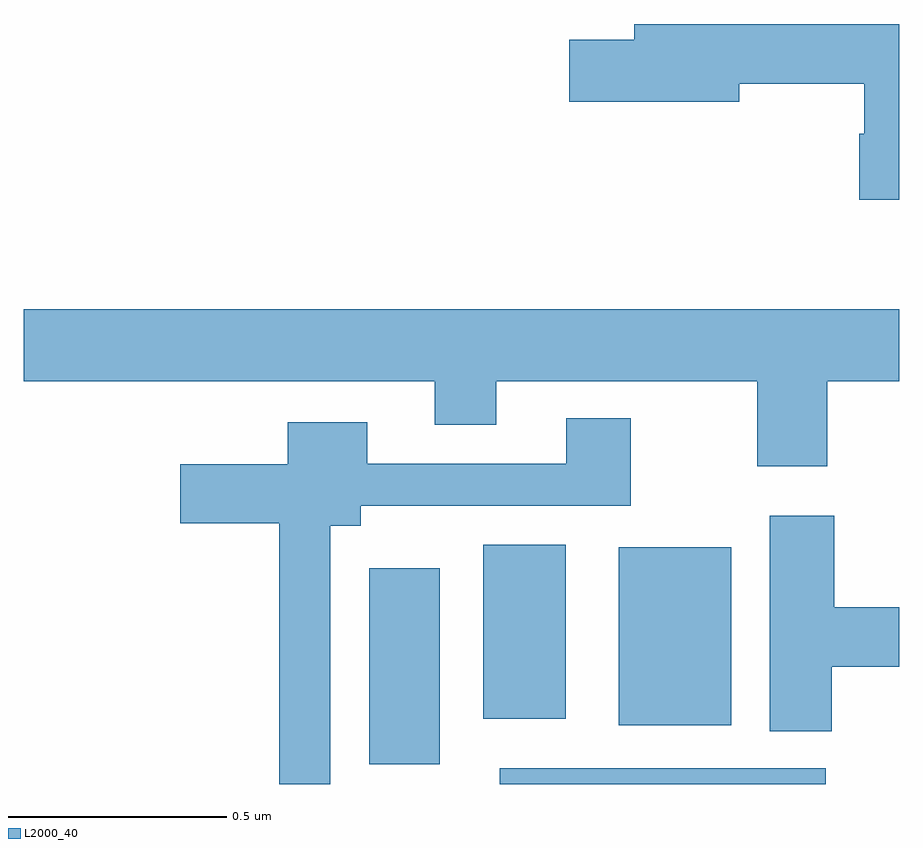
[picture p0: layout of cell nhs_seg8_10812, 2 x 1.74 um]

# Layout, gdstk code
import gdstk
lib = gdstk.Library(unit=1e-6, precision=1e-09)
def R(c, l, rs):  # rectangles x0, y0, x1, y1
    for r in rs: c.add(gdstk.rectangle(r[:2], r[2:], *l))
def P(c, l, *ps):  # polygons
    for p in ps: c.add(gdstk.Polygon(p, *l))
L2000_40 = (2000, 40)

nhs_seg8_10812 = lib.new_cell('nhs_seg8_10812')
R(nhs_seg8_10812, L2000_40, [(255.087,1128.9,255.832,1128.936), (254.789,1128.945,254.95,1129.393), (255.359,1129.034,255.616,1129.441), (255.05,1129.049,255.238,1129.447)])
P(nhs_seg8_10812, L2000_40, [(256,1130.636),(255.395,1130.636),(255.395,1130.6),(255.246,1130.6),(255.246,1130.458),(255.634,1130.458),(255.634,1130.5),(255.92,1130.5),(255.92,1130.385),(255.908,1130.385),(255.908,1130.235),(256,1130.235)],
  [(254,1129.82),(254.939,1129.82),(254.939,1129.721),(255.079,1129.721),(255.079,1129.82),(255.676,1129.82),(255.676,1129.626),(255.836,1129.626),(255.836,1129.82),(256,1129.82),(256,1129.984),(254,1129.984)],
  [(254.7,1129.49),(254.77,1129.49),(254.77,1129.536),(255.387,1129.536),(255.387,1129.735),(255.239,1129.735),(255.239,1129.632),(254.785,1129.632),(254.785,1129.726),(254.603,1129.726),(254.603,1129.63),(254.358,1129.63),(254.358,1129.496),(254.584,1129.496),(254.584,1128.9),(254.7,1128.9)],
  [(255.846,1129.168),(256,1129.168),(256,1129.304),(255.851,1129.304),(255.851,1129.513),(255.704,1129.513),(255.704,1129.021),(255.846,1129.021)])

lib.write_gds('nhs_seg8_10812.gds')
